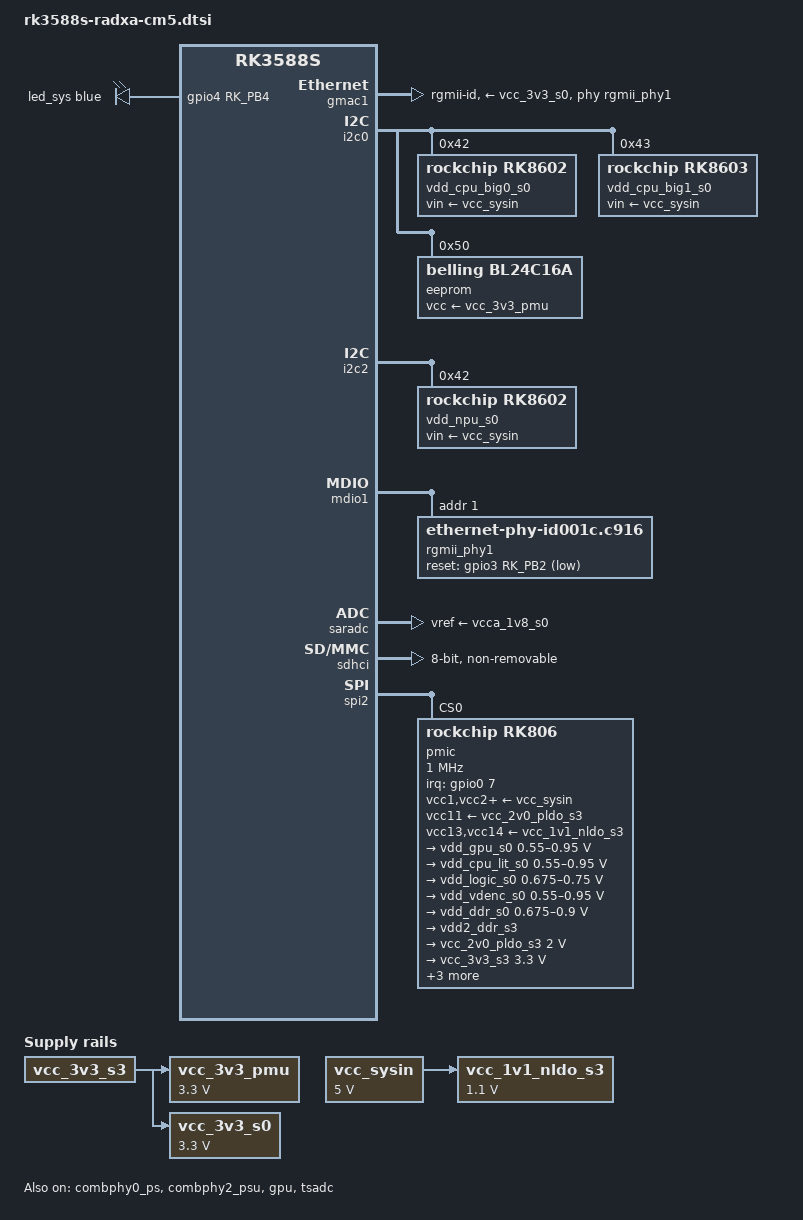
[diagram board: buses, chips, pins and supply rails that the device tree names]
// SPDX-License-Identifier: (GPL-2.0+ OR MIT)
/*
 * Copyright (c) 2025 Joseph Kogut <joseph.kogut@gmail.com>
 * Copyright (c) 2025 Andrew Yong <me@ndoo.sg>
 */

/*
 * CM5 data sheet
 * https://dl.radxa.com/cm5/v2210/radxa_cm5_v2210_schematic.pdf
 */

/dts-v1/;

#include <dt-bindings/gpio/gpio.h>
#include <dt-bindings/leds/common.h>
#include <dt-bindings/pinctrl/rockchip.h>
#include "rk3588s.dtsi"

/ {
	aliases {
		mmc0 = &sdhci;
	};

	leds {
		compatible = "gpio-leds";

		led_sys: led-0 {
			color = <LED_COLOR_ID_BLUE>;
			default-state = "on";
			function = LED_FUNCTION_HEARTBEAT;
			gpios = <&gpio4 RK_PB4 GPIO_ACTIVE_HIGH>;
			linux,default-trigger = "heartbeat";
		};
	};

	vcc_sysin: regulator-vcc-sysin {
		compatible = "regulator-fixed";
		regulator-name = "vcc_sysin";
		regulator-always-on;
		regulator-boot-on;
		regulator-min-microvolt = <5000000>;
		regulator-max-microvolt = <5000000>;
	};

	vcc_1v1_nldo_s3: regulator-vcc-1v1-nldo-s3 {
		compatible = "regulator-fixed";
		regulator-name = "vcc_1v1_nldo_s3";
		regulator-always-on;
		regulator-boot-on;
		regulator-min-microvolt = <1100000>;
		regulator-max-microvolt = <1100000>;
		vin-supply = <&vcc_sysin>;
	};

	vcc_3v3_pmu: regulator-vcc-3v3-pmu {
		compatible = "regulator-fixed";
		regulator-name = "vcc_3v3_pmu";
		regulator-always-on;
		regulator-boot-on;
		regulator-min-microvolt = <3300000>;
		regulator-max-microvolt = <3300000>;
		vin-supply = <&vcc_3v3_s3>;
	};

	vcc_3v3_s0: regulator-vcc-3v3-s0 {
		compatible = "regulator-fixed";
		regulator-name = "vcc_3v3_s0";
		regulator-always-on;
		regulator-boot-on;
		regulator-min-microvolt = <3300000>;
		regulator-max-microvolt = <3300000>;
		vin-supply = <&vcc_3v3_s3>;
	};
};

&combphy0_ps {
	status = "okay";
};

&combphy2_psu {
	status = "okay";
};

&cpu_b0 {
	cpu-supply = <&vdd_cpu_big0_s0>;
};

&cpu_b1 {
	cpu-supply = <&vdd_cpu_big0_s0>;
};

&cpu_b2 {
	cpu-supply = <&vdd_cpu_big1_s0>;
};

&cpu_b3 {
	cpu-supply = <&vdd_cpu_big1_s0>;
};

&cpu_l0 {
	cpu-supply = <&vdd_cpu_lit_s0>;
};

&cpu_l1 {
	cpu-supply = <&vdd_cpu_lit_s0>;
};

&cpu_l2 {
	cpu-supply = <&vdd_cpu_lit_s0>;
};

&cpu_l3 {
	cpu-supply = <&vdd_cpu_lit_s0>;
};

&gmac1 {
	clock_in_out = "output";
	phy-handle = <&rgmii_phy1>;
	phy-mode = "rgmii-id";
	phy-supply = <&vcc_3v3_s0>;
	pinctrl-0 = <&gmac1_miim
	&gmac1_tx_bus2
	&gmac1_rx_bus2
	&gmac1_rgmii_clk
	&gmac1_rgmii_bus
	&gmac1_clkinout>;
	pinctrl-names = "default";
	tx_delay = <0x3a>;
	rx_delay = <0x3e>;
	status = "okay";
};

&gpu {
	mali-supply = <&vdd_gpu_s0>;
	status = "okay";
};

&i2c0 {
	pinctrl-names = "default";
	pinctrl-0 = <&i2c0m2_xfer>;
	status = "okay";

	vdd_cpu_big0_s0: regulator@42 {
		compatible = "rockchip,rk8602";
		reg = <0x42>;
		fcs,suspend-voltage-selector = <1>;
		regulator-name = "vdd_cpu_big0_s0";
		regulator-always-on;
		regulator-boot-on;
		regulator-min-microvolt = <550000>;
		regulator-max-microvolt = <1050000>;
		regulator-ramp-delay = <2300>;
		vin-supply = <&vcc_sysin>;

		regulator-state-mem {
			regulator-off-in-suspend;
		};
	};

	vdd_cpu_big1_s0: regulator@43 {
		compatible = "rockchip,rk8603", "rockchip,rk8602";
		reg = <0x43>;
		fcs,suspend-voltage-selector = <1>;
		regulator-name = "vdd_cpu_big1_s0";
		regulator-always-on;
		regulator-boot-on;
		regulator-min-microvolt = <550000>;
		regulator-max-microvolt = <1050000>;
		regulator-ramp-delay = <2300>;
		vin-supply = <&vcc_sysin>;

		regulator-state-mem {
			regulator-off-in-suspend;
		};
	};

	eeprom@50 {
		compatible = "belling,bl24c16a", "atmel,24c16";
		reg = <0x50>;
		pagesize = <16>;
		vcc-supply = <&vcc_3v3_pmu>;
	};
};

&i2c2 {
	status = "okay";

	vdd_npu_s0: regulator@42 {
		compatible = "rockchip,rk8602";
		reg = <0x42>;
		fcs,suspend-voltage-selector = <1>;
		regulator-name = "vdd_npu_s0";
		regulator-always-on;
		regulator-boot-on;
		regulator-min-microvolt = <550000>;
		regulator-max-microvolt = <950000>;
		regulator-ramp-delay = <2300>;
		vin-supply = <&vcc_sysin>;

		regulator-state-mem {
			regulator-off-in-suspend;
		};
	};
};

&mdio1 {
	rgmii_phy1: ethernet-phy@1 {
		/* RTL8211FS(I)(-VS) */
		compatible = "ethernet-phy-id001c.c916";
		reg = <0x1>;
		pinctrl-names = "default";
		pinctrl-0 = <&gmac1_rstn>;
		reset-assert-us = <20000>;
		reset-deassert-us = <100000>;
		reset-gpios = <&gpio3 RK_PB2 GPIO_ACTIVE_LOW>;
	};
};

&pd_gpu {
	domain-supply = <&vdd_gpu_s0>;
};

&pinctrl {
	mdio {
		gmac1_rstn: gmac1-rstn {
			rockchip,pins = <3 RK_PB2 RK_FUNC_GPIO &pcfg_pull_none>;
		};
	};
};

&saradc {
	vref-supply = <&vcca_1v8_s0>;
	status = "okay";
};

&sdhci {
	bus-width = <8>;
	mmc-hs400-1_8v;
	mmc-hs400-enhanced-strobe;
	no-sdio;
	no-sd;
	non-removable;
	status = "okay";
};

&spi2 {
	status = "okay";
	assigned-clocks = <&cru CLK_SPI2>;
	assigned-clock-rates = <200000000>;
	num-cs = <1>;
	pinctrl-names = "default";
	pinctrl-0 = <&spi2m2_cs0 &spi2m2_pins>;

	pmic@0 {
		compatible = "rockchip,rk806";
		spi-max-frequency = <1000000>;
		reg = <0x0>;

		interrupt-parent = <&gpio0>;
		interrupts = <7 IRQ_TYPE_LEVEL_LOW>;

		gpio-controller;
		#gpio-cells = <2>;

		pinctrl-names = "default";
		pinctrl-0 = <&pmic_pins>, <&rk806_dvs1_null>,
			    <&rk806_dvs2_null>, <&rk806_dvs3_null>;

		system-power-controller;

		vcc1-supply = <&vcc_sysin>;
		vcc2-supply = <&vcc_sysin>;
		vcc3-supply = <&vcc_sysin>;
		vcc4-supply = <&vcc_sysin>;
		vcc5-supply = <&vcc_sysin>;
		vcc6-supply = <&vcc_sysin>;
		vcc7-supply = <&vcc_sysin>;
		vcc8-supply = <&vcc_sysin>;
		vcc9-supply = <&vcc_sysin>;
		vcc10-supply = <&vcc_sysin>;
		vcc11-supply = <&vcc_2v0_pldo_s3>;
		vcc12-supply = <&vcc_sysin>;
		vcc13-supply = <&vcc_1v1_nldo_s3>;
		vcc14-supply = <&vcc_1v1_nldo_s3>;
		vcca-supply = <&vcc_sysin>;

		rk806_dvs1_null: dvs1-null-pins {
			pins = "gpio_pwrctrl1";
			function = "pin_fun0";
		};

		rk806_dvs2_null: dvs2-null-pins {
			pins = "gpio_pwrctrl2";
			function = "pin_fun0";
		};

		rk806_dvs3_null: dvs3-null-pins {
			pins = "gpio_pwrctrl3";
			function = "pin_fun0";
		};

		regulators {
			vdd_gpu_s0: dcdc-reg1 {
				regulator-name = "vdd_gpu_s0";
				regulator-boot-on;
				regulator-min-microvolt = <550000>;
				regulator-max-microvolt = <950000>;
				regulator-ramp-delay = <12500>;
				regulator-enable-ramp-delay = <400>;

				regulator-state-mem {
					regulator-off-in-suspend;
				};
			};

			vdd_cpu_lit_s0: dcdc-reg2 {
				regulator-name = "vdd_cpu_lit_s0";
				regulator-always-on;
				regulator-boot-on;
				regulator-min-microvolt = <550000>;
				regulator-max-microvolt = <950000>;
				regulator-ramp-delay = <12500>;

				regulator-state-mem {
					regulator-off-in-suspend;
				};
			};

			vdd_logic_s0: dcdc-reg3 {
				regulator-name = "vdd_logic_s0";
				regulator-always-on;
				regulator-boot-on;
				regulator-min-microvolt = <675000>;
				regulator-max-microvolt = <750000>;
				regulator-ramp-delay = <12500>;

				regulator-state-mem {
					regulator-on-in-suspend;
					regulator-suspend-microvolt = <750000>;
				};
			};

			vdd_vdenc_s0: dcdc-reg4 {
				regulator-name = "vdd_vdenc_s0";
				regulator-always-on;
				regulator-boot-on;
				regulator-min-microvolt = <550000>;
				regulator-max-microvolt = <950000>;
				regulator-ramp-delay = <12500>;

				regulator-state-mem {
					regulator-off-in-suspend;
				};
			};

			vdd_ddr_s0: dcdc-reg5 {
				regulator-name = "vdd_ddr_s0";
				regulator-always-on;
				regulator-boot-on;
				regulator-min-microvolt = <675000>;
				regulator-max-microvolt = <900000>;
				regulator-ramp-delay = <12500>;

				regulator-state-mem {
					regulator-off-in-suspend;
					regulator-suspend-microvolt = <850000>;
				};
			};

			vdd2_ddr_s3: dcdc-reg6 {
				regulator-name = "vdd2_ddr_s3";
				regulator-always-on;
				regulator-boot-on;

				regulator-state-mem {
					regulator-on-in-suspend;
				};
			};

			vcc_2v0_pldo_s3: dcdc-reg7 {
				regulator-name = "vcc_2v0_pldo_s3";
				regulator-always-on;
				regulator-boot-on;
				regulator-min-microvolt = <2000000>;
				regulator-max-microvolt = <2000000>;
				regulator-ramp-delay = <12500>;

				regulator-state-mem {
					regulator-on-in-suspend;
					regulator-suspend-microvolt = <2000000>;
				};
			};

			vcc_3v3_s3: dcdc-reg8 {
				regulator-name = "vcc_3v3_s3";
				regulator-always-on;
				regulator-boot-on;
				regulator-min-microvolt = <3300000>;
				regulator-max-microvolt = <3300000>;

				regulator-state-mem {
					regulator-on-in-suspend;
					regulator-suspend-microvolt = <3300000>;
				};
			};

			vddq_ddr_s0: dcdc-reg9 {
				regulator-name = "vddq_ddr_s0";
				regulator-always-on;
				regulator-boot-on;

				regulator-state-mem {
					regulator-off-in-suspend;
				};
			};

			vcc1v8_pmu_ddr_s3: dcdc-reg10 {
				regulator-name = "vcc1v8_pmu_ddr_s3";
				regulator-always-on;
				regulator-boot-on;
				regulator-min-microvolt = <1800000>;
				regulator-max-microvolt = <1800000>;

				regulator-state-mem {
					regulator-on-in-suspend;
					regulator-suspend-microvolt = <1800000>;
				};
			};

			vcc_1v8_s0: pldo-reg1 {
				regulator-name = "vcc_1v8_s0";
				regulator-always-on;
				regulator-boot-on;
				regulator-min-microvolt = <1800000>;
				regulator-max-microvolt = <1800000>;

				regulator-state-mem {
					regulator-on-in-suspend;
					regulator-suspend-microvolt = <1800000>;
				};
			};

			vcca_1v8_s0: pldo-reg2 {
				regulator-name = "vcca_1v8_s0";
				regulator-always-on;
				regulator-boot-on;
				regulator-min-microvolt = <1800000>;
				regulator-max-microvolt = <1800000>;

				regulator-state-mem {
					regulator-on-in-suspend;
					regulator-suspend-microvolt = <1800000>;
				};
			};

			vdda_1v2_s0: pldo-reg3 {
				regulator-name = "vdda_1v2_s0";
				regulator-always-on;
				regulator-boot-on;
				regulator-min-microvolt = <1200000>;
				regulator-max-microvolt = <1200000>;

				regulator-state-mem {
					regulator-off-in-suspend;
				};
			};

			vcca_3v3_s0: pldo-reg4 {
				regulator-name = "vcca_3v3_s0";
				regulator-always-on;
				regulator-boot-on;
				regulator-min-microvolt = <3300000>;
				regulator-max-microvolt = <3300000>;

				regulator-state-mem {
					regulator-on-in-suspend;
					regulator-suspend-microvolt = <3300000>;
				};
			};

			vccio_sd_s0: pldo-reg5 {
				regulator-name = "vccio_sd_s0";
				regulator-always-on;
				regulator-boot-on;
				regulator-min-microvolt = <1800000>;
				regulator-max-microvolt = <3300000>;

				regulator-state-mem {
					regulator-off-in-suspend;
				};
			};

			pldo6_s3: pldo-reg6 {
				regulator-name = "pldo6_s3";
				regulator-always-on;
				regulator-boot-on;
				regulator-min-microvolt = <1800000>;
				regulator-max-microvolt = <1800000>;

				regulator-state-mem {
					regulator-on-in-suspend;
					regulator-suspend-microvolt = <1800000>;
				};
			};

			vdd_0v75_s3: nldo-reg1 {
				regulator-name = "vdd_0v75_s3";
				regulator-always-on;
				regulator-boot-on;
				regulator-min-microvolt = <750000>;
				regulator-max-microvolt = <750000>;

				regulator-state-mem {
					regulator-on-in-suspend;
					regulator-suspend-microvolt = <750000>;
				};
			};

			vdda_ddr_pll_s0: nldo-reg2 {
				regulator-name = "vdda_ddr_pll_s0";
				regulator-always-on;
				regulator-boot-on;
				regulator-min-microvolt = <850000>;
				regulator-max-microvolt = <850000>;

				regulator-state-mem {
					regulator-on-in-suspend;
					regulator-suspend-microvolt = <850000>;
				};
			};

			vdda_0v75_s0: nldo-reg3 {
				regulator-name = "vdda_0v75_s0";
				regulator-always-on;
				regulator-boot-on;
				regulator-min-microvolt = <750000>;
				regulator-max-microvolt = <750000>;

				regulator-state-mem {
					regulator-off-in-suspend;
				};
			};

			vdda_0v85_s0: nldo-reg4 {
				regulator-name = "vdda_0v85_s0";
				regulator-always-on;
				regulator-boot-on;
				regulator-min-microvolt = <850000>;
				regulator-max-microvolt = <850000>;

				regulator-state-mem {
					regulator-off-in-suspend;
				};
			};

			hdmi_vdda0v85_s0: nldo-reg5 {
				regulator-name = "hdmi_vdda0v85_s0";
				regulator-always-on;
				regulator-boot-on;
				regulator-min-microvolt = <750000>;
				regulator-max-microvolt = <750000>;

				regulator-state-mem {
					regulator-off-in-suspend;
				};
			};
		};
	};
};

&tsadc {
	rockchip,hw-tshut-mode = <1>; /* tshut mode 0:CRU 1:GPIO */
	rockchip,hw-tshut-polarity = <0>; /* tshut polarity 0:LOW 1:HIGH */
	status = "okay";
};
